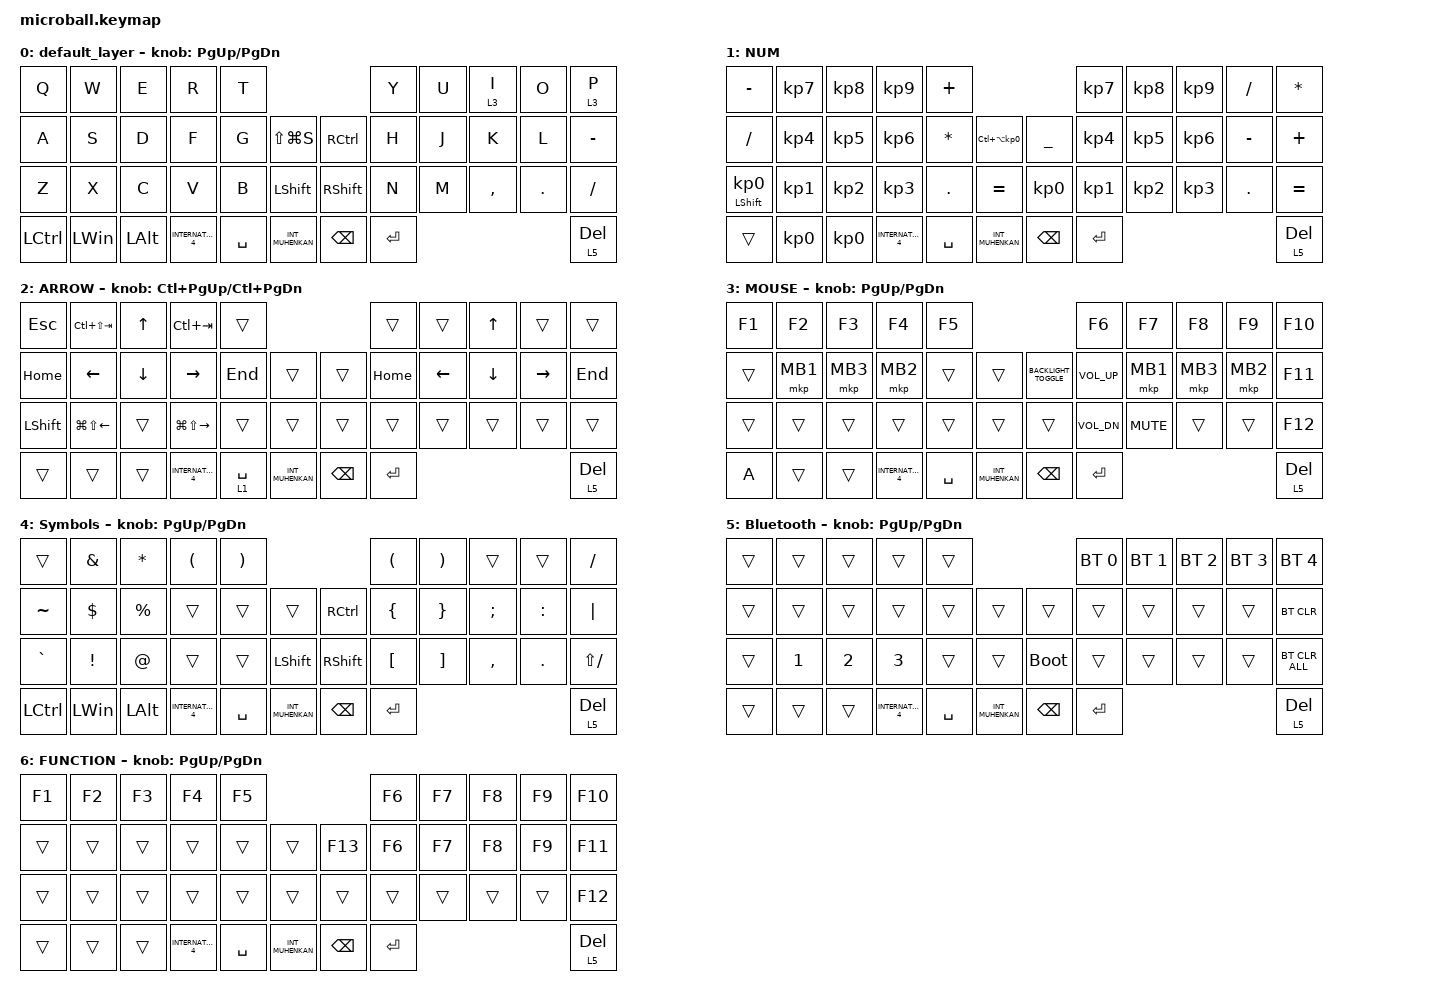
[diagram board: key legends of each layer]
#include <behaviors.dtsi>
#include <dt-bindings/zmk/bt.h>
#include <dt-bindings/zmk/keys.h>
#include <dt-bindings/zmk/pointing.h>

#define MOUSE 4
#define SCROLL 5
#define NUM 6

&mt {
    flavor = "balanced";
    quick-tap-ms = <0>;
};

/ {
    combos {
        compatible = "zmk,combos";

        layer0 {
            bindings = <&mo 0>;
            key-positions = <37 5>;
        };

        layer1 {
            bindings = <&mo 1>;
            key-positions = <37 6>;
        };

        layer2 {
            bindings = <&mo 2>;
            key-positions = <37 7>;
        };

        layer3 {
            bindings = <&mo 3>;
            key-positions = <37 17>;
        };

        layer4 {
            bindings = <&mo 4>;
            key-positions = <37 8>;
        };

        layer5 {
            bindings = <&mo 5>;
            key-positions = <37 9>;
        };

        layer6 {
            bindings = <&mo 6>;
            key-positions = <21 37>;
        };
    };

    macros {
        to_layer_0: to_layer_0 {
            compatible = "zmk,behavior-macro-one-param";
            #binding-cells = <1>;
            bindings = <&to 0 &macro_param_1to1 &kp MACRO_PLACEHOLDER>;
            label = "TO_LAYER_0";
        };
    };

    behaviors {
        lt_to_layer_0: lt_to_layer_0 {
            compatible = "zmk,behavior-hold-tap";
            label = "LAYER_TAP_TO_0";
            bindings = <&mo>, <&to_layer_0>;

            #binding-cells = <2>;
            tapping-term-ms = <200>;
        };
    };

    keymap {
        compatible = "zmk,keymap";

        default_layer {
            bindings = <
&kp Q      &kp W         &kp E         &kp R                &kp T                                             &kp Y      &kp U  &lt 3 I    &kp O    &lt_to_layer_0 3 P
&kp A      &kp S         &kp D         &kp F                &kp G      &kp LS(LG(S))         &kp RCTRL        &kp H      &kp J  &kp K      &kp L    &kp MINUS
&kp Z      &kp X         &kp C         &kp V                &kp B      &kp LEFT_SHIFT        &kp RIGHT_SHIFT  &kp N      &kp M  &kp COMMA  &kp DOT  &kp SLASH
&kp LCTRL  &kp LEFT_WIN  &kp LEFT_ALT  &kp INTERNATIONAL_4  &kp SPACE  &kp INT_MUHENKAN      &kp BACKSPACE    &kp ENTER                             &lt_to_layer_0 5 DELETE
            >;

            sensor-bindings = <&inc_dec_kp PG_UP PAGE_DOWN>;
        };

        NUM {
            bindings = <
&kp MINUS                   &kp KP_NUMBER_7  &kp KP_NUMBER_8  &kp KP_NUMBER_9      &kp PLUS                                                    &kp KP_NUMBER_7  &kp KP_NUMBER_8  &kp KP_NUMBER_9  &kp SLASH   &kp ASTERISK
&kp SLASH                   &kp KP_NUMBER_4  &kp KP_NUMBER_5  &kp KP_NUMBER_6      &kp ASTERISK  &kp LC(LA(KP_NUMBER_0))      &kp UNDERSCORE   &kp KP_NUMBER_4  &kp KP_NUMBER_5  &kp KP_NUMBER_6  &kp MINUS   &kp PLUS
&mt LEFT_SHIFT KP_NUMBER_0  &kp KP_NUMBER_1  &kp KP_NUMBER_2  &kp KP_NUMBER_3      &kp PERIOD    &kp EQUAL                    &kp KP_NUMBER_0  &kp KP_NUMBER_1  &kp KP_NUMBER_2  &kp KP_NUMBER_3  &kp PERIOD  &kp EQUAL
&trans                      &kp KP_NUMBER_0  &kp KP_NUMBER_0  &kp INTERNATIONAL_4  &kp SPACE     &kp INT_MUHENKAN             &kp BACKSPACE    &kp ENTER                                                      &lt_to_layer_0 5 DELETE
            >;
        };

        ARROW {
            bindings = <
&kp ESCAPE      &kp LC(LS(TAB))         &kp UP_ARROW    &kp LC(TAB)              &trans                                                       &trans     &trans          &kp UP_ARROW  &trans     &trans
&kp HOME        &kp LEFT_ARROW          &kp DOWN_ARROW  &kp RIGHT_ARROW          &kp END                 &trans                &trans         &kp HOME   &kp LEFT_ARROW  &kp DOWN      &kp RIGHT  &kp END
&kp LEFT_SHIFT  &kp LG(LS(LEFT_ARROW))  &trans          &kp LG(LS(RIGHT_ARROW))  &trans                  &trans                &trans         &trans     &trans          &trans        &trans     &trans
&trans          &trans                  &trans          &kp INTERNATIONAL_4      &lt_to_layer_0 1 SPACE  &kp INT_MUHENKAN      &kp BACKSPACE  &kp ENTER                                           &lt_to_layer_0 5 DELETE
            >;

            sensor-bindings = <&inc_dec_kp LC(PAGE_UP) LC(PAGE_DOWN)>;
        };

        MOUSE {
            bindings = <
&kp F1  &kp F2    &kp F3    &kp F4               &kp F5                                                   &kp F6           &kp F7      &kp F8    &kp F9    &kp F10
&trans  &mkp MB1  &mkp MB3  &mkp MB2             &trans     &trans                &kp C_BACKLIGHT_TOGGLE  &kp C_VOLUME_UP  &mkp MB1    &mkp MB3  &mkp MB2  &kp F11
&trans  &trans    &trans    &trans               &trans     &trans                &trans                  &kp C_VOL_DN     &kp K_MUTE  &trans    &trans    &kp F12
&kp A   &trans    &trans    &kp INTERNATIONAL_4  &kp SPACE  &kp INT_MUHENKAN      &kp BACKSPACE           &kp ENTER                                        &lt_to_layer_0 5 DELETE
            >;

            sensor-bindings = <&inc_dec_kp PG_UP PG_DN>;
        };

        Symbols {
            bindings = <
&trans     &kp AMPERSAND    &kp ASTERISK  &kp LEFT_PARENTHESIS  &kp RIGHT_PARENTHESIS                                         &kp LEFT_PARENTHESIS  &kp RIGHT_PARENTHESIS  &trans         &trans      &kp SLASH
&kp TILDE  &kp DOLLAR       &kp PERCENT   &trans                &trans                 &trans                &kp RCTRL        &kp LEFT_BRACE        &kp RIGHT_BRACE        &kp SEMICOLON  &kp COLON   &kp PIPE
&kp GRAVE  &kp EXCLAMATION  &kp AT_SIGN   &trans                &trans                 &kp LEFT_SHIFT        &kp RIGHT_SHIFT  &kp LEFT_BRACKET      &kp RIGHT_BRACKET      &kp COMMA      &kp PERIOD  &kp LS(SLASH)
&kp LCTRL  &kp LEFT_WIN     &kp LEFT_ALT  &kp INTERNATIONAL_4   &kp SPACE              &kp INT_MUHENKAN      &kp BACKSPACE    &kp ENTER                                                               &lt_to_layer_0 5 DELETE
            >;

            sensor-bindings = <&inc_dec_kp PG_UP PAGE_DOWN>;
        };

        Bluetooth {
            bindings = <
&trans  &trans        &trans        &trans               &trans                                          &bt BT_SEL 0  &bt BT_SEL 1  &bt BT_SEL 2  &bt BT_SEL 3  &bt BT_SEL 4
&trans  &trans        &trans        &trans               &trans     &trans                &trans         &trans        &trans        &trans        &trans        &bt BT_CLR
&trans  &kp NUMBER_1  &kp NUMBER_2  &kp NUMBER_3         &trans     &trans                &bootloader    &trans        &trans        &trans        &trans        &bt BT_CLR_ALL
&trans  &trans        &trans        &kp INTERNATIONAL_4  &kp SPACE  &kp INT_MUHENKAN      &kp BACKSPACE  &kp ENTER                                               &lt_to_layer_0 5 DELETE
            >;

            sensor-bindings = <&inc_dec_kp PG_UP PG_DN>;
        };

        FUNCTION {
            bindings = <
&kp F1  &kp F2  &kp F3  &kp F4               &kp F5                                          &kp F6     &kp F7  &kp F8  &kp F9  &kp F10
&trans  &trans  &trans  &trans               &trans     &trans                &kp F13        &kp F6     &kp F7  &kp F8  &kp F9  &kp F11
&trans  &trans  &trans  &trans               &trans     &trans                &trans         &trans     &trans  &trans  &trans  &kp F12
&trans  &trans  &trans  &kp INTERNATIONAL_4  &kp SPACE  &kp INT_MUHENKAN      &kp BACKSPACE  &kp ENTER                          &lt_to_layer_0 5 DELETE
            >;

            sensor-bindings = <&inc_dec_kp PG_UP PG_DN>;
        };
    };
};
